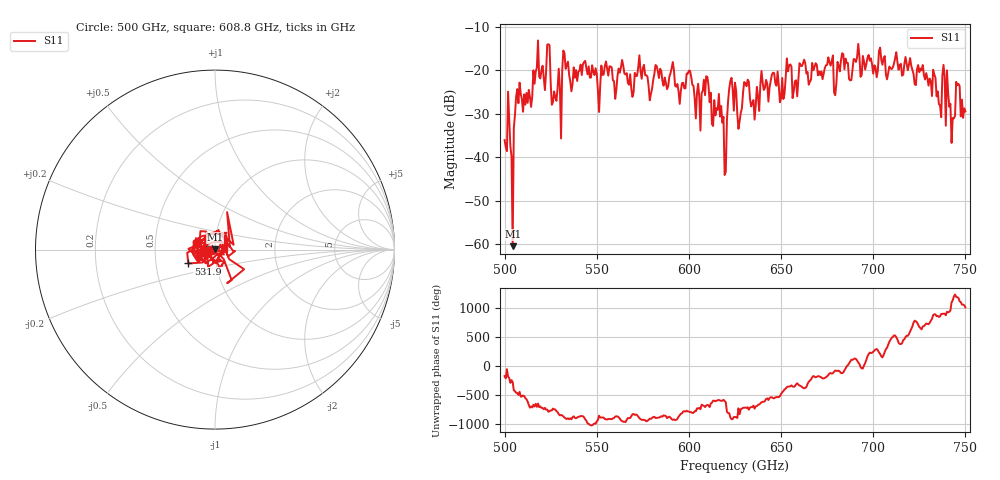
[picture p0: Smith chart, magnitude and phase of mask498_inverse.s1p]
!Created with skrf (http://scikit-rf.org).
# GHz S MA R 50.0
!freq magS11 angS11
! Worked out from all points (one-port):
!   401 points, 500 GHz to 750 GHz, reference 50 ohm
!   lowest |S11| = -60.4 dB at 504.4 GHz (marker M1), VSWR 1.00, Z = 50 + j0.0944 ohm
!   |S11| at or under -10 dB: start of sweep to end of sweep
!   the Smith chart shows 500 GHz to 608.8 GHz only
!   S11 on the Smith chart (normalised r, x): 500 GHz: 0.97, -0.00; 531.9 GHz: 0.73, -0.12; 608.8 GHz: 1.11, +0.02
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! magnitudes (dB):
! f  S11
! 500 GHz  -36.1
! 502.5 GHz  -31.3
! 504.4 GHz  -60.4
! 507.5 GHz  -27.6
! 513.8 GHz  -26.2
! 516.9 GHz  -20.4
! 523.8 GHz  -14.0
! 526.9 GHz  -24.9
! 531.2 GHz  -20.0
! 531.9 GHz  -15.5
! 562.5 GHz  -20.6
! 593.8 GHz  -23.2
! 600 GHz  -20.1
! 605 GHz  -23.1
! 608.8 GHz  -25.8
! 617.5 GHz  -28.2
! 619.4 GHz  -44.1
! 622.5 GHz  -22.4
! 625 GHz  -22.9
! 627.5 GHz  -31.8
! 631.2 GHz  -23.7
! 635 GHz  -26.9
! 656.2 GHz  -26.4
! 687.5 GHz  -22.4
! 718.8 GHz  -20.0
! 738.8 GHz  -21.6
! 743.1 GHz  -31.0
! 750 GHz  -29.5
